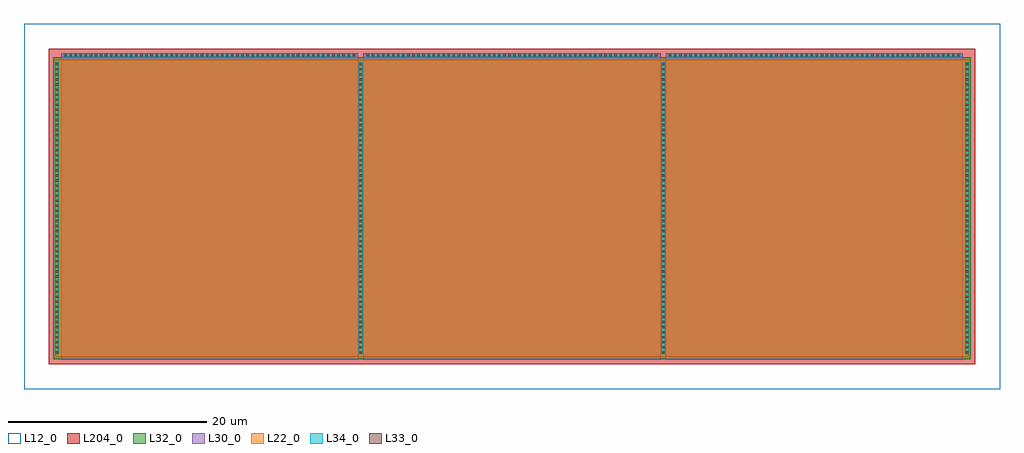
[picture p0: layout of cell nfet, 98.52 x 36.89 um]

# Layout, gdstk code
import gdstk
lib = gdstk.Library(unit=1e-6, precision=1e-09)
def R(c, l, rs):  # rectangles x0, y0, x1, y1
    for r in rs: c.add(gdstk.rectangle(r[:2], r[2:], *l))
def A(c, l, x, y, w, h, nx, ny, dx, dy):  # array of equal rectangles
    R(c, l, [(x+i*dx, y+j*dy, x+i*dx+w, y+j*dy+h) for i in range(nx) for j in range(ny)])
L12_0 = (12, 0)
L22_0 = (22, 0)
L30_0 = (30, 0)
L32_0 = (32, 0)
L33_0 = (33, 0)
L34_0 = (34, 0)
L204_0 = (204, 0)

nfet = lib.new_cell('nfet')
R(nfet, L12_0, [(-3.55,-3.26,94.97,33.63)])
R(nfet, L22_0, [(-0.42,0,0,30), (0,0,91.42,30), (91.42,0,91.84,30)])
A(nfet, L30_0, 0.19, -0.3, 30, 30.6, 3, 1, 30.52, 0)
A(nfet, L30_0, 0.19, 30.3, 30, 0.36, 3, 1, 30.52, 0)
R(nfet, L32_0, [(-0.59,-0.24,92.01,30.24)])
A(nfet, L33_0, -0.32, 0.355, 0.22, 0.22, 1, 58, 0, 0.51)
A(nfet, L33_0, 30.34, 0.355, 0.22, 0.22, 1, 58, 0, 0.51)
A(nfet, L33_0, 60.86, 0.355, 0.22, 0.22, 1, 58, 0, 0.51)
A(nfet, L33_0, 91.52, 0.355, 0.22, 0.22, 1, 58, 0, 0.51)
A(nfet, L33_0, 0.545, 30.37, 0.22, 0.22, 58, 1, 0.51, 0)
A(nfet, L33_0, 31.065, 30.37, 0.22, 0.22, 58, 1, 0.51, 0)
A(nfet, L33_0, 61.585, 30.37, 0.22, 0.22, 58, 1, 0.51, 0)
A(nfet, L34_0, 0.465, 30.29, 29.45, 0.38, 3, 1, 30.52, 0)
R(nfet, L34_0, [(-0.4,0.275,-0.02,29.725), (30.26,0.275,30.64,29.725), (60.78,0.275,61.16,29.725), (91.44,0.275,91.82,29.725)])
R(nfet, L204_0, [(-1.04,-0.75,92.46,31.12)])

lib.write_gds('nfet.gds')
